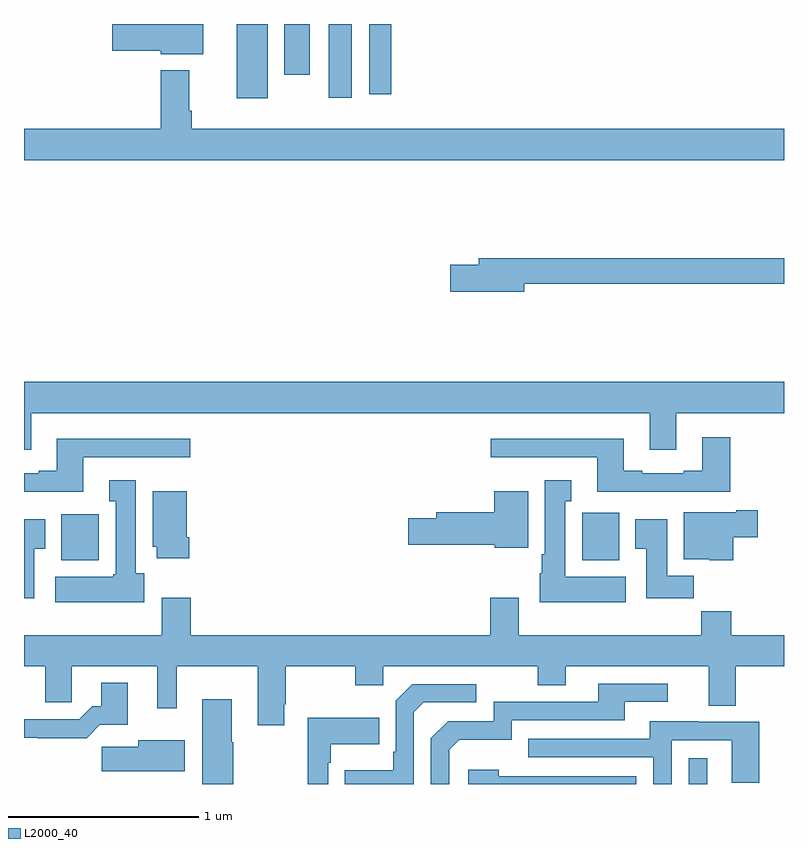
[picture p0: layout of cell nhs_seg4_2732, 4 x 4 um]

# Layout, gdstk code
import gdstk
lib = gdstk.Library(unit=1e-6, precision=1e-09)
def R(c, l, rs):  # rectangles x0, y0, x1, y1
    for r in rs: c.add(gdstk.rectangle(r[:2], r[2:], *l))
def P(c, l, *ps):  # polygons
    for p in ps: c.add(gdstk.Polygon(p, *l))
L2000_40 = (2000, 40)

nhs_seg4_2732 = lib.new_cell('nhs_seg4_2732')
R(nhs_seg4_2732, L2000_40, [(258.498,762.9,258.595,763.036), (255.197,764.078,255.394,764.32), (257.937,764.078,258.133,764.328), (256.121,766.509,256.282,766.9), (256.604,766.512,256.726,766.9), (256.818,766.53,256.934,766.9), (256.37,766.632,256.504,766.9)])
P(nhs_seg4_2732, L2000_40, [(255.943,766.9),(255.464,766.9),(255.464,766.76),(255.72,766.76),(255.72,766.742),(255.943,766.742)],
  [(259,766.348),(255.884,766.348),(255.884,766.444),(255.871,766.444),(255.871,766.657),(255.719,766.657),(255.719,766.348),(255,766.348),(255,766.184),(259,766.184)],
  [(257.632,765.532),(259,765.532),(259,765.668),(257.393,765.668),(257.393,765.632),(257.244,765.632),(257.244,765.49),(257.632,765.49)],
  [(255.037,764.852),(258.293,764.852),(258.293,764.658),(258.433,764.658),(258.433,764.852),(259,764.852),(259,765.016),(255,765.016),(255,764.658),(255.037,764.658)],
  [(258.377,764.439),(258.717,764.439),(258.717,764.725),(258.569,764.725),(258.569,764.548),(258.473,764.548),(258.473,764.535),(258.253,764.535),(258.253,764.548),(258.157,764.548),(258.157,764.716),(257.457,764.716),(257.457,764.619),(258.017,764.619),(258.017,764.438),(258.377,764.438)],
  [(255.313,764.619),(255.874,764.619),(255.874,764.716),(255.173,764.716),(255.173,764.548),(255.077,764.548),(255.077,764.535),(255,764.535),(255,764.438),(255.313,764.438)],
  [(255.634,764.01),(255.589,764.01),(255.589,764.5),(255.449,764.5),(255.449,764.387),(255.482,764.387),(255.482,764.004),(255.469,764.004),(255.469,763.99),(255.165,763.99),(255.165,763.856),(255.634,763.856)],
  [(258.166,763.99),(257.848,763.99),(257.848,764.387),(257.881,764.387),(257.881,764.5),(257.741,764.5),(257.741,764.11),(257.726,764.11),(257.726,764.01),(257.714,764.01),(257.714,763.856),(258.166,763.856)],
  [(257.653,764.44),(257.474,764.44),(257.474,764.33),(257.171,764.33),(257.171,764.3),(257.022,764.3),(257.022,764.158),(257.478,764.158),(257.478,764.144),(257.653,764.144)],
  [(255.869,764.2),(255.856,764.2),(255.856,764.44),(255.677,764.44),(255.677,764.148),(255.698,764.148),(255.698,764.088),(255.869,764.088)],
  [(258.732,764.2),(258.862,764.2),(258.862,764.342),(258.749,764.342),(258.749,764.329),(258.473,764.329),(258.473,764.084),(258.606,764.084),(258.606,764.078),(258.732,764.078)],
  [(258.524,763.996),(258.385,763.996),(258.385,764.293),(258.218,764.293),(258.218,764.137),(258.275,764.137),(258.275,763.878),(258.524,763.878)],
  [(255.055,764.137),(255.112,764.137),(255.112,764.293),(255,764.293),(255,763.878),(255.055,763.878)],
  [(256.369,763.321),(256.377,763.321),(256.377,763.52),(256.744,763.52),(256.744,763.421),(256.89,763.421),(256.89,763.52),(257.704,763.52),(257.704,763.421),(257.851,763.421),(257.851,763.52),(258.605,763.52),(258.605,763.312),(258.745,763.312),(258.745,763.52),(259,763.52),(259,763.684),(258.722,763.684),(258.722,763.808),(258.565,763.808),(258.565,763.684),(257.605,763.684),(257.605,763.879),(257.453,763.879),(257.453,763.684),(255.878,763.684),(255.878,763.879),(255.725,763.879),(255.725,763.684),(255,763.684),(255,763.52),(255.113,763.52),(255.113,763.33),(255.252,763.33),(255.252,763.52),(255.701,763.52),(255.701,763.299),(255.805,763.299),(255.805,763.52),(256.229,763.52),(256.229,763.209),(256.369,763.209)],
  [(255.398,763.211),(255.547,763.211),(255.547,763.432),(255.407,763.432),(255.407,763.309),(255.358,763.309),(255.291,763.242),(255,763.242),(255,763.144),(255.073,763.144),(255.073,763.142),(255.329,763.142)],
  [(257.238,763.08),(257.291,763.133),(257.568,763.133),(257.568,763.236),(258.163,763.236),(258.163,763.332),(258.388,763.332),(258.388,763.428),(258.023,763.428),(258.023,763.332),(257.472,763.332),(257.472,763.23),(257.232,763.23),(257.142,763.14),(257.142,762.9),(257.238,762.9)],
  [(257.052,763.278),(257.103,763.329),(257.38,763.329),(257.38,763.425),(257.043,763.425),(256.956,763.338),(256.956,763.069),(256.944,763.069),(256.944,762.973),(256.687,762.973),(256.687,762.9),(257.052,762.9)],
  [(256.101,763.121),(256.093,763.121),(256.093,763.345),(255.938,763.345),(255.938,762.9),(256.101,762.9)],
  [(256.602,763.013),(256.615,763.013),(256.615,763.109),(256.871,763.109),(256.871,763.249),(256.494,763.249),(256.494,762.9),(256.602,762.9)],
  [(258.408,763.131),(258.726,763.131),(258.726,762.907),(258.871,762.907),(258.871,763.227),(258.547,763.227),(258.547,763.231),(258.293,763.231),(258.293,763.137),(257.653,763.137),(257.653,763.041),(258.312,763.041),(258.312,762.9),(258.408,762.9)],
  [(255.847,763.129),(255.602,763.129),(255.602,763.097),(255.408,763.097),(255.408,762.968),(255.847,762.968)],
  [(258.222,762.942),(257.498,762.942),(257.498,762.976),(257.337,762.976),(257.337,762.9),(258.222,762.9)])

lib.write_gds('nhs_seg4_2732.gds')
